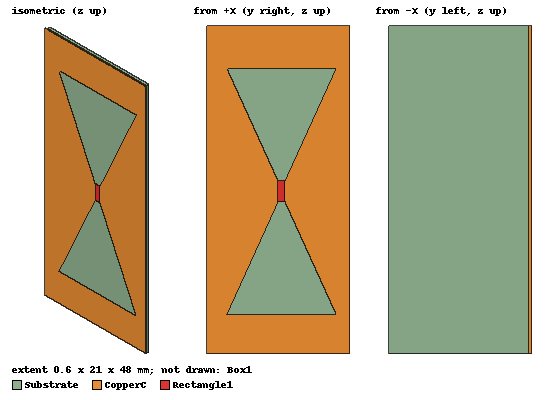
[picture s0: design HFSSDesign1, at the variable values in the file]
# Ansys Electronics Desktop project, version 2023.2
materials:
  vacuum: permittivity=1
  copper: permeability=0.999991 conductivity=58000000
  Rogers RO3203 (tm): permittivity=3.02 dielectric_loss_tangent=0.0016
  Rogers RO3006 (tm): permittivity=6.15 dielectric_loss_tangent=0.0025
  Rogers RO3010 (tm): permittivity=10.2 dielectric_loss_tangent=0.0035

design HFSSDesign1 (HFSS, HFSS Terminal Network, model units mm)
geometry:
  Substrate [Rogers RO3203 (tm)] = box(corner=(0mm, -2mm, 1mm), size=(-0.6mm, 20.5mm, 48mm))
  CopperC = rectangle(corner=(0mm, -2.5mm, 49mm), y_size=21mm, z_size=-48mm)
  Polyline1 = polyline(x=0mm, yz in mm: (0.5, 6.75) (16.5, 6.75) (9, 23.25) (8, 23.25) (0.5, 6.75), closed, covered)
  Polyline1_1 = Polyline1.duplicate_mirror(point=(0mm, 8mm, 24.75mm), normal=(0mm, 0mm, 1mm))
  CopperC.subtract(Polyline1, Polyline1_1)
  Rectangle1 = rectangle(corner=(0mm, 8mm, 26.25mm), y_size=1mm, z_size=-3mm)
  Box1 [vacuum] = box(corner=(-25.5mm, -25mm, -25mm), size=(50mm, 62.5mm, 100mm))
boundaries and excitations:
  FiniteCond1: Finite Conductivity Objects=CopperC UseMaterial Material=copper IsInternal
  Rad1: Radiation Objects=Box1
  1: Lumped Port Objects=Rectangle1 LumpedPortType=Modal Modes{Mode1{IntLine{(0, 8.5, 23.25) -> (0, 8.5, 26.25)} CharImp=Zpi}} Impedance=50ohm
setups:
  Setup1: HfssDriven Frequency=6GHz MaxDeltaS=0.02 MaximumPasses=6 MinimumPasses=1 MinimumConvergedPasses=1 PercentRefinement=30 BasisOrder=1 PortAccuracy=2 DrivenSolverType="Direct Solver"
    sweep Sweep: 3GHz to 9GHz, 401 points; Type=Fast SaveFields
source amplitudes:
  1:1: 1V 0deg
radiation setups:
  Infinite Sphere1: Infinite Sphere Theta=-180deg..180deg step 2deg Phi=0deg..180deg step 2deg
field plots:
  Vector_E1: E Field over CopperC.face(at (0, 8, 25)) on Setup1 : Sweep at Freq=3GHz Phase=0deg
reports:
  S Parameter Plot 1: dB(S(1,1)) vs Freq on Setup1 : Sweep; markers MX1 at x=8.0072464e+09, MX2 at x=4e+09, MX3 at x=6.0072464e+09, MY1 at y=-10.1523
  Gain Plot 1: dB(GainPhi), dB(GainTheta) vs Phi, Theta on Setup1 : Sweep, Infinite Sphere1 [Freq=6GHz]
  Directivity Plot 1: dB(DirPhi), dB(DirTheta) vs Theta, Phi on Setup1 : Sweep, Infinite Sphere1 [Freq=6GHz]
  Directivity Plot 5: dB(DirPhi), dB(DirTheta) vs Theta on Setup1 : Sweep, Infinite Sphere1 [Phi=0deg,90deg,180deg Freq=6GHz]
  Directivity Plot 6: dB(DirPhi), dB(DirTheta) vs Phi, Theta on Setup1 : Sweep, Infinite Sphere1 [Freq=6GHz]
  Port Zo Plot 1: re(Zo(1)) vs Freq on Setup1 : Sweep
  VSWR Plot 1: VSWR(1) vs Freq on Setup1 : Sweep; markers MX1 at x=6e+09
  Z Parameter Plot 1: dB20(Z(1,1)) vs Freq on Setup1 : Sweep
  Gain Plot 2: dB(GainPhi), dB(GainTheta) vs Theta on Setup1 : LastAdaptive, Infinite Sphere1 [Phi=all Freq=6GHz]
  Gain Plot 3: dB(GainPhi), dB(GainTheta) vs Theta on Setup1 : LastAdaptive, Infinite Sphere1 [Phi=0deg,90deg,180deg Freq=6GHz]
  Z Parameter Plot 2: re(Z(1,1)), im(Z(1,1)) vs Freq on Setup1 : Sweep
